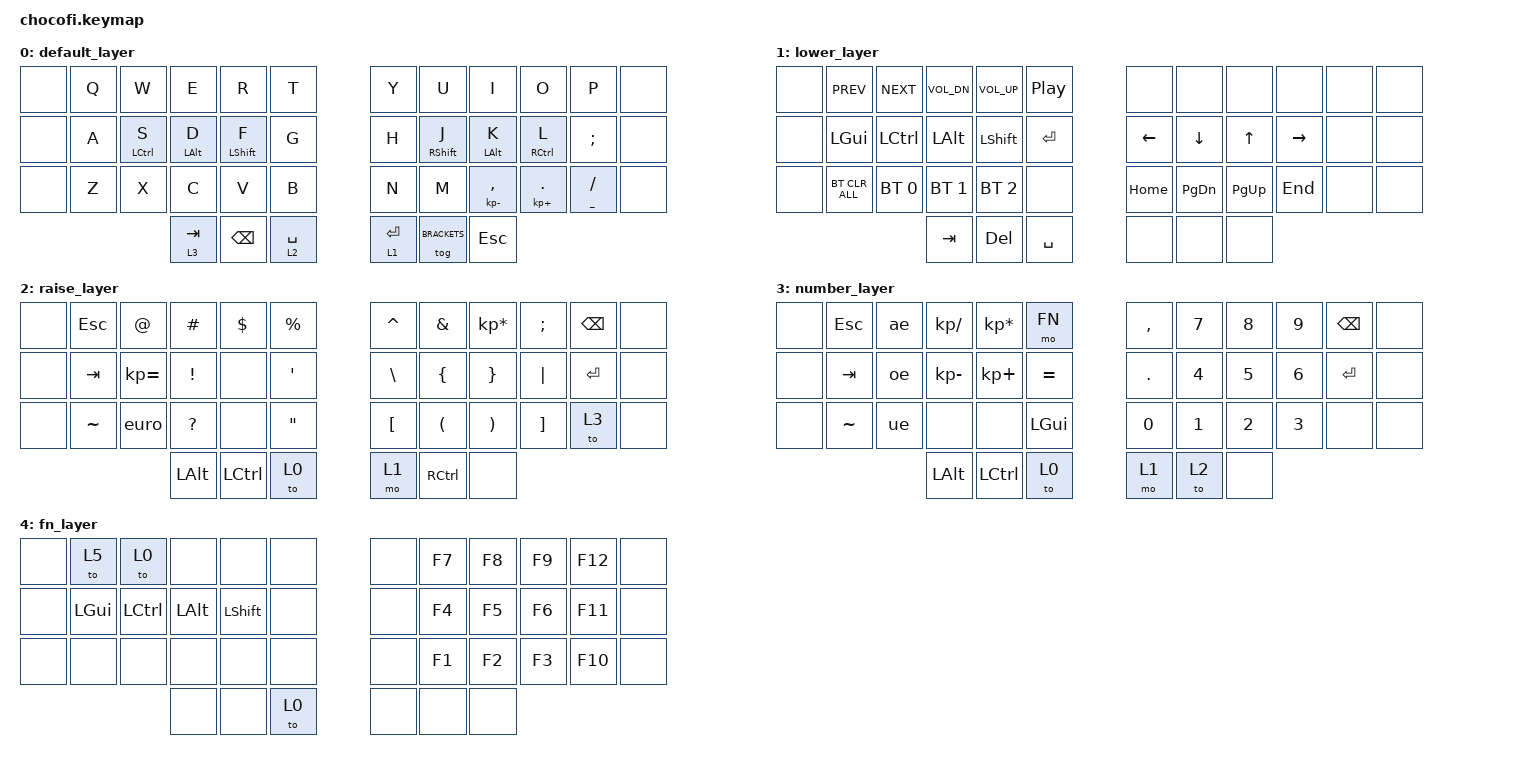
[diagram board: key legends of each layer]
/*
 * Copyright (c) 2020 The ZMK Contributors
 *
 * SPDX-License-Identifier: MIT
 */

#include <behaviors.dtsi>
#include <dt-bindings/zmk/keys.h>
#include <dt-bindings/zmk/bt.h>

#define DEFAULT 0
#define MOVEMENT 1
#define BRACKETS 2
#define NUMBERS 3
#define FN 4

/ {
    combos {
        compatible = "zmk,combos";
        combo_gui {
            timeout-ms = <50>;
            key-positions = <38 39>;
            bindings = <&kp LGUI>;
            layers = <0>;
        };
        combo_pscrn {
            timeout-ms = <50>;
            key-positions = <6 10>;
            bindings = <&kp PSCRN>;
            layers = <1>;
        };
        combo_capsword {
            timeout-ms = <50>;
            key-positions = <16 19>;
            bindings = <&caps_word>;
            layers = <0>;
        };
        combo_alt_f4 {
            timeout-ms = <50>;
            key-positions = <38 8>;
            bindings = <&alt_f4>;
            layers = <1>;
        };
    };
};

/ {
    macros {
        euro: euro {
            compatible = "zmk,behavior-macro";
            #binding-cells = <0>;
            wait-ms = <10>;
            tap-ms = <40>;
            bindings
                = <&macro_press   &kp LALT>
                , <&macro_tap     &kp KP_N0 &kp KP_N1 &kp KP_N2 &kp KP_N8>
                , <&macro_release &kp LALT>
                ;
        };
        ae: ae {
            compatible = "zmk,behavior-macro";
            #binding-cells = <0>;
            wait-ms = <10>;
            tap-ms = <40>;
            bindings
                = <&macro_press   &kp LALT>
                , <&macro_tap     &kp KP_N0 &kp KP_N2 &kp KP_N2 &kp KP_N8>
                , <&macro_release &kp LALT>
                ;
        };
        oe: oe {
            compatible = "zmk,behavior-macro";
            #binding-cells = <0>;
            wait-ms = <10>;
            tap-ms = <40>;
            bindings
                = <&macro_press   &kp LALT>
                , <&macro_tap     &kp KP_N0 &kp KP_N2 &kp KP_N4 &kp KP_N6>
                , <&macro_release &kp LALT>
                ;
        };
        ue: ue {
            compatible = "zmk,behavior-macro";
            #binding-cells = <0>;
            wait-ms = <10>;
            tap-ms = <40>;
            bindings
                = <&macro_press   &kp LALT>
                , <&macro_tap     &kp KP_N0 &kp KP_N2 &kp KP_N5 &kp KP_N2>
                , <&macro_release &kp LALT>
                ;
        };
        alt_f4: alt_f4 {
            compatible = "zmk,behavior-macro";
            #binding-cells = <0>;
            wait-ms = <40>;
            tap-ms = <40>;
            bindings
                = <&macro_press   &kp LALT>
                , <&macro_tap     &kp F4>
                , <&macro_release &kp LALT>
                ;
        };
    };
};

/ {

    // chosen { zmk,matrix_transform = &five_column_transform; };

    behaviors {
        bhm: balanced_homerow_mods {
            compatible = "zmk,behavior-hold-tap";
            #binding-cells = <2>;
            tapping-term-ms = <300>;
            quick-tap-ms = <0>;
            flavor = "balanced";
            bindings = <&kp>, <&kp>;
        };
    };
    keymap {
                compatible = "zmk,keymap";

                // 0
                default_layer {
// --------------------------------------------------------------------------------------------------------------------------------------------
// |      |     Q     |     W     |     E     |     R     |     T     |   |     Y     |     U     |     I     |     O     |     P     |      |
// |      |     A     |     S     |     D     |     F     |     G     |   |     H     |     J     |     K     |     L     |     ;     |      |
// |      |     Z     |     X     |     C     |     V     |     B     |   |     N     |     M     |     ,     |     .     |     /     |      |
//                                |    TAB    |    BSPC   |    SPC    |   |    RET    |  BRACKETS |    ESC    |
                        bindings = <
   &none   &kp Q       &kp W        &kp E       &kp R         &kp T        &kp Y     &kp U         &kp I              &kp O           &kp P          &none 
   &none   &kp A       &bhm LCTRL S &bhm LALT D &bhm LSHIFT F &kp G        &kp H     &bhm RSHIFT J &bhm LALT K        &bhm RCTRL L    &kp SEMI       &none 
   &none   &kp Z       &kp X        &kp C       &kp V         &kp B        &kp N     &kp M         &mt KP_MINUS COMMA &mt KP_PLUS DOT &mt UNDER FSLH &none 
                                    &lt 3 TAB   &kp BSPC      &lt 2 SPACE  &lt 1 RET &tog BRACKETS &kp ESC
                        >;
                };

                // 1
                lower_layer {
// --------------------------------------------------------------------------------------------------------------------------------------------
// |      |    PREV   |    NEXT   |    VOL-   |    VOL+   |    PP     |   |    PSCRN  |    AF4    |           |    PSCRN  |           |      |
// |      |    GUI    |    CTRL   |    ALT    |   SHIFT   |    RET    |   |    LFT    |    DWN    |     UP    |    RGT    |           |      |
// |      |    BT_C   |    BT_0   |   BT_01   |   BT_02   |           |   |    HOME   |    PDN    |    PUP    |    END    |           |      |
//                                |    TAB    |    DEL    |    SPC    |   |           |           |           |
                        bindings = <
   &none &kp C_PREV     &kp C_NEXT   &kp C_VOL_DN &kp C_VOL_UP &kp C_PP       &none      &none        &none       &none         &none    &none 
   &none &kp LGUI       &kp LCTL     &kp LALT     &kp LSHIFT   &kp RET        &kp LEFT   &kp DOWN     &kp UP      &kp RIGHT     &none    &none 
   &none &bt BT_CLR_ALL &bt BT_SEL 0 &bt BT_SEL 1 &bt BT_SEL 2 &none          &kp HOME   &kp PG_DN    &kp PG_UP   &kp END       &none    &none 
                          	         &kp TAB      &kp DEL      &kp SPACE      &none      &none        &none
                        >;
                };

                // 2
                raise_layer {
// -------------------------------------------------------------------------------------------------------------------------------------------
// |      |    ESC    |     @     |     #     |     $     |     %     |   |     ^     |     &     |     *     |     ;     |    BKSP   |      |
// |      |    TAB    |     =     |     !     |           |     '     |   |     \     |     {     |     }     |     |     |    ENT    |      |
// |      |     ~     |     €     |     ?     |           |     "     |   |     [     |     (     |     )     |     ]     |    L3     |      |
//                                |    ALT    |    CTRL   |    L0     |   |     L1    |    CTRL   |           |
                        bindings = <
   &none   &kp ESC   &kp AT         &kp HASH     &kp DLLR   &kp PRCNT      &kp CARET     &kp AMPS   &kp KP_MULTIPLY &kp SEMI  &kp BSPC  &none 
   &none   &kp TAB   &kp KP_EQUAL   &kp EXCL     &none      &kp SQT        &kp BSLH      &kp LBRC   &kp RBRC        &kp PIPE  &kp RET   &none 
   &none   &kp TILDE &euro          &kp QMARK    &none      &kp DQT        &kp LBKT      &kp LPAR   &kp RPAR        &kp RBKT  &to 3     &none 
                    	            &kp LALT     &kp LCTL   &to 0          &mo 1         &kp RCTL   &none  
                        >;
                };

                // 3
                number_layer {
// -------------------------------------------------------------------------------------------------------------------------------------------
// |      |    ESC    |     ä     |     /     |     *     |     FN    |   |     ,     |     7     |     8     |     9     |    BKSP   |      |
// |      |    TAB    |     ö     |     -     |     +     |     =     |   |     .     |     4     |     5     |     6     |    ENT    |      |
// |      |    RST    |     ü     |           |           |     GUI   |   |     0     |     1     |     2     |     3     |           |      |
//                                |    ALT    |    CTRL   |     L0    |   |     L1    |     L2    |           |
                        bindings = <
   &none   &kp ESC     &ae       &kp KP_DIVIDE &kp KP_MULTIPLY &mo FN       &kp COMMA    &kp N7      &kp N8     &kp N9      &kp BSPC    &none 
   &none   &kp TAB     &oe       &kp KP_MINUS  &kp KP_PLUS  &kp EQUAL       &kp DOT      &kp N4      &kp N5     &kp N6      &kp RET     &none 
   &none   &kp TILDE   &ue       &none         &none        &kp LGUI        &kp N0       &kp N1      &kp N2     &kp N3      &none       &none 
                    	         &kp LALT      &kp LCTL     &to 0           &mo 1        &to 2       &none 
                        >;
                };

                // 4
                fn_layer {
// -------------------------------------------------------------------------------------------------------------------------------------------
// |      |  COLEMAK  |   QWERTY  |           |           |           |   |           |     F7    |     F8    |     F9    |    F12    |      |
// |      |    GUI    |    CTRL   |    ALT    |   SHIFT   |           |   |           |     F4    |     F5    |     F6    |    F11    |      |
// |      |           |           |           |           |           |   |           |     F1    |     F2    |     F3    |    F10    |      |
//                                |           |           |    L0     |   |           |           |           |
                        bindings = <
   &none   &to 5        &to 0      &none       &none       &none            &none      &kp F7       &kp F8     &kp F9      &kp F12      &none 
   &none   &kp LGUI     &kp LCTL   &kp LALT    &kp LSHIFT  &none            &none      &kp F4       &kp F5     &kp F6      &kp F11      &none 
   &none   &none        &none      &none       &none       &none            &none      &kp F1       &kp F2     &kp F3      &kp F10      &none 
                    	           &none       &none       &to 0            &none      &none        &none 
                        >;
                };
        };
};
